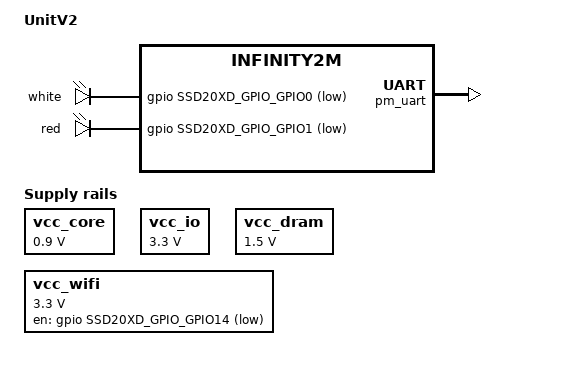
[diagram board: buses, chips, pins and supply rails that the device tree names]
// SPDX-License-Identifier: GPL-2.0-or-later
/*
 * Copyright (c) 2021 thingy.jp.
 * Author: Daniel Palmer <daniel@thingy.jp>
 */

/dts-v1/;
#include "mstar-infinity2m-ssd202d.dtsi"

#include <dt-bindings/gpio/gpio.h>

/ {
	model = "UnitV2";
	compatible = "m5stack,unitv2", "mstar,infinity2m";

	aliases {
		serial0 = &pm_uart;
	};

	chosen {
		stdout-path = "serial0:115200n8";
	};

	leds {
		compatible = "gpio-leds";
		white {
			gpios = <&gpio SSD20XD_GPIO_GPIO0 GPIO_ACTIVE_LOW>;
			linux,default-trigger = "activity";
		};
		red {
			gpios = <&gpio SSD20XD_GPIO_GPIO1 GPIO_ACTIVE_LOW>;
			linux,default-trigger = "heartbeat";
		};
	};

	vcc_core: regulator@0 {
		compatible = "regulator-fixed";
		regulator-name = "vcc_core";
		regulator-min-microvolt = <900000>;
		regulator-max-microvolt = <900000>;
		regulator-boot-on;
	};

	vcc_io: regulator@1 {
		compatible = "regulator-fixed";
		regulator-name = "vcc_io";
		regulator-min-microvolt = <3300000>;
		regulator-max-microvolt = <3300000>;
		regulator-boot-on;
	};

	vcc_dram: regulator@2 {
		compatible = "regulator-fixed";
		regulator-name = "vcc_dram";
		regulator-min-microvolt = <1500000>;
		regulator-max-microvolt = <1500000>;
		regulator-boot-on;
	};

	vcc_wifi: regulator@3 {
		compatible = "regulator-fixed";
		regulator-name = "vcc_wifi";
		regulator-min-microvolt = <3300000>;
		regulator-max-microvolt = <3300000>;
		gpios = <&gpio SSD20XD_GPIO_GPIO14 0>;
	};
};

&pm_uart {
	status = "okay";
};
